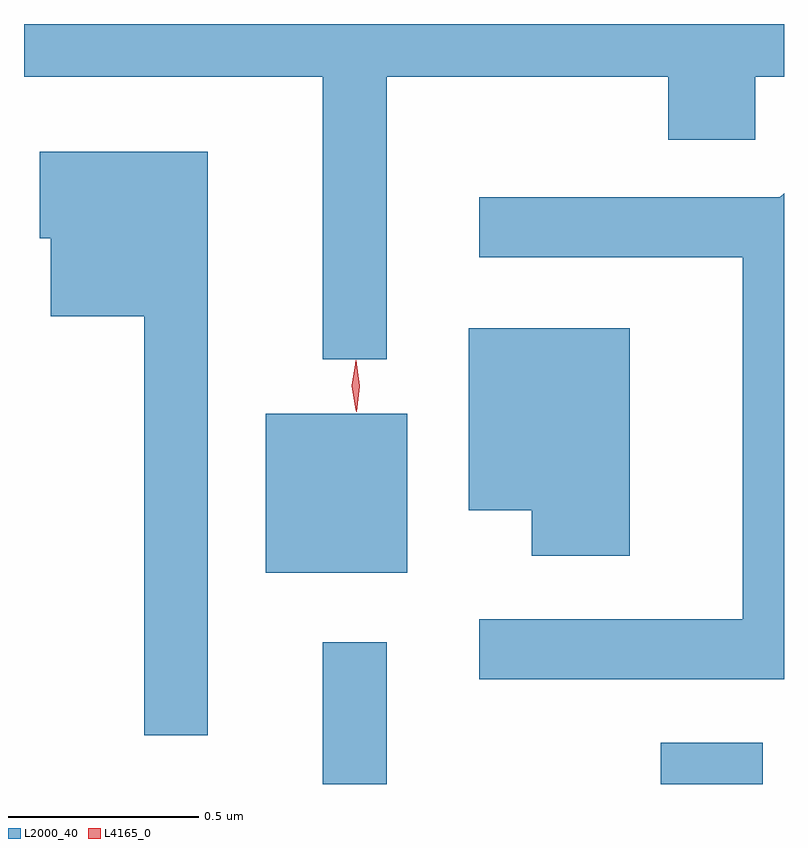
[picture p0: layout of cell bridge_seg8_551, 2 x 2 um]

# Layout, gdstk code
import gdstk
lib = gdstk.Library(unit=1e-6, precision=1e-09)
def R(c, l, rs):  # rectangles x0, y0, x1, y1
    for r in rs: c.add(gdstk.rectangle(r[:2], r[2:], *l))
def P(c, l, *ps):  # polygons
    for p in ps: c.add(gdstk.Polygon(p, *l))
L2000_40 = (2000, 40)
L4165_0 = (4165, 0)

bridge_seg8_551 = lib.new_cell('bridge_seg8_551')
R(bridge_seg8_551, L2000_40, [(556.041,1863.415,556.209,1863.788), (556.931,1863.415,557.199,1863.524), (555.891,1863.971,556.264,1864.389)])
P(bridge_seg8_551, L2000_40, [(556.209,1865.276),(556.951,1865.276),(556.951,1865.111),(557.179,1865.111),(557.179,1865.276),(557.255,1865.276),(557.255,1865.415),(555.255,1865.415),(555.255,1865.276),(556.041,1865.276),(556.041,1864.533),(556.209,1864.533)],
  [(555.739,1865.079),(555.296,1865.079),(555.296,1864.851),(555.326,1864.851),(555.326,1864.646),(555.571,1864.646),(555.571,1863.543),(555.739,1863.543)],
  [(557.255,1864.97),(557.244,1864.959),(556.453,1864.959),(556.453,1864.801),(557.146,1864.801),(557.146,1863.849),(556.453,1863.849),(556.453,1863.691),(557.255,1863.691)],
  [(556.849,1864.614),(556.426,1864.614),(556.426,1864.136),(556.591,1864.136),(556.591,1864.016),(556.849,1864.016)])
P(bridge_seg8_551, L4165_0, [(556.128,1864.398),(556.128,1864.399),(556.118,1864.463),(556.128,1864.527),(556.128,1864.527),(556.129,1864.527),(556.138,1864.463),(556.129,1864.399)],
  [(556.129,1864.394),(556.129,1864.394),(556.119,1864.462),(556.128,1864.53),(556.128,1864.53),(556.129,1864.53),(556.139,1864.462),(556.13,1864.394)])

lib.write_gds('bridge_seg8_551.gds')
